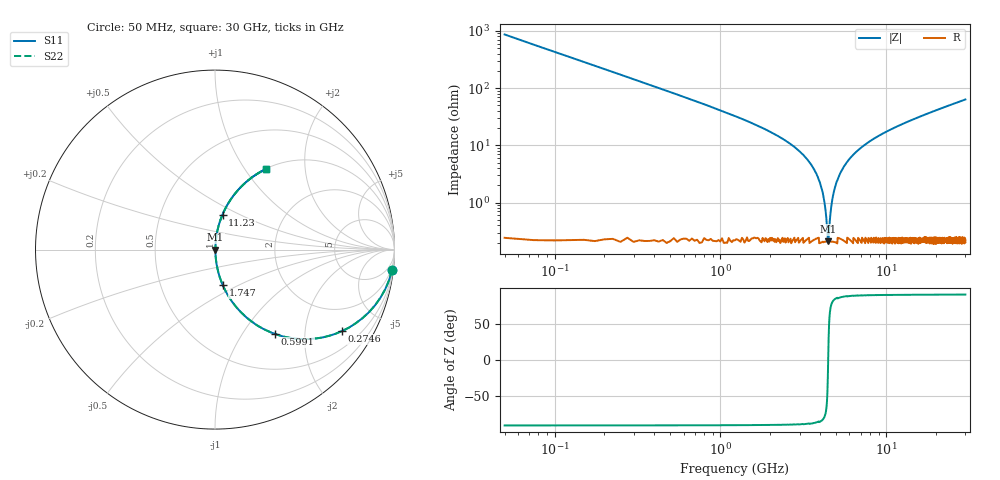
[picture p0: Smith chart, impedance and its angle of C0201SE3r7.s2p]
!	AVX Thin Film Operation 	Date: April 2014
!	Description: Accu-P® Series, Thin Film  SMD RF Capacitor
!	Part Number: 02013J3R7ABSTR
# MHZ S MA R 50
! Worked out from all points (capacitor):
!   1201 points, 50 MHz to 30 GHz, reference 50 ohm
!   read as one part in series: C = 3.7 pF near 199.8 MHz
!   lowest |Z| = 211 mohm at 4.468 GHz (marker M1)
!   series resonance near 4.465 GHz, so ESL is about 340 pH
!   S11 on the Smith chart (normalised r, x): 50 MHz: 1, -17; 274.6 MHz: 1.01, -3.12; 599.1 MHz: 1.01, -1.41; 1.747 GHz: 1.00, -0.42; 11.23 GHz: 1.00, +0.41; 30 GHz: 1.00, +1.27
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50  0.993 -6.6  0.115 83.4  0.115 83.4  0.993 -6.6
274.625  0.841 -32.6  0.539 57.3  0.539 57.3  0.841 -32.6
599.083  0.575 -54.7  0.816 35.1  0.816 35.1  0.575 -54.7
1023.375  0.369 -68.0  0.927 21.7  0.927 21.7  0.369 -68.0
1747.167  0.204 -77.6  0.977 11.8  0.977 11.8  0.204 -77.6
3020.042  0.077 -84.0  0.995 4.4  0.995 4.4  0.077 -84.0
3693.917  0.037 -84.5  0.997 2.1  0.997 2.1  0.037 -84.5
4093.25  0.017 -81.6  0.998 1.0  0.998 1.0  0.017 -81.6
4218.042  0.011 -78.0  0.998 0.6  0.998 0.6  0.011 -78.0
4367.792  0.004763 -62.3  0.998 0.2  0.998 0.2  0.004763 -62.3
4467.625  0.002199 3.1  0.998 -0.0  0.998 -0.0  0.002199 3.1
4567.458  0.004888 63.1  0.998 -0.2  0.998 -0.2  0.004888 63.1
4792.083  0.014 80.1  0.998 -0.8  0.998 -0.8  0.014 80.1
5041.667  0.024 83.3  0.998 -1.3  0.998 -1.3  0.024 83.3
5640.667  0.045 84.6  0.997 -2.6  0.997 -2.6  0.045 84.6
6614.042  0.077 83.9  0.995 -4.4  0.995 -4.4  0.077 83.9
10058.29  0.171 79.4  0.983 -9.9  0.983 -9.9  0.171 79.4
11231.33  0.2 77.9  0.978 -11.5  0.978 -11.5  0.2 77.9
15025  0.283 73.1  0.957 -16.4  0.957 -16.4  0.283 73.1
20016.67  0.379 67.4  0.923 -22.3  0.923 -22.3  0.379 67.4
25033.29  0.463 62.2  0.885 -27.6  0.885 -27.6  0.463 62.2
30000  0.534 57.5  0.844 -32.3  0.844 -32.3  0.534 57.5
